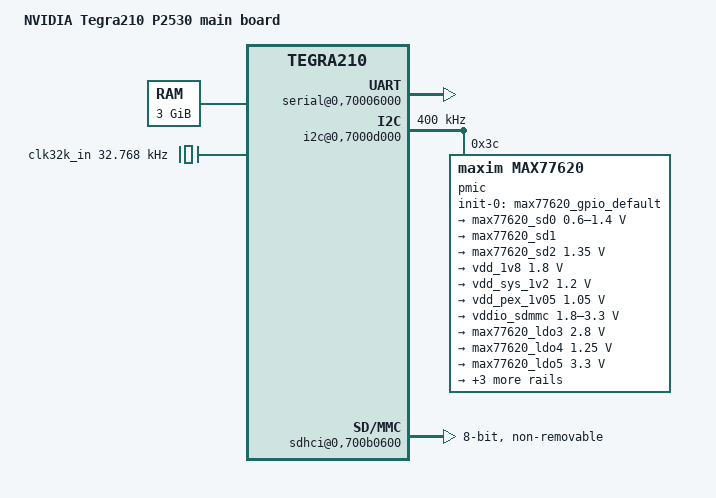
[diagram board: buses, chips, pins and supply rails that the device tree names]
#include "tegra210.dtsi"

/ {
	model = "NVIDIA Tegra210 P2530 main board";
	compatible = "nvidia,p2530", "nvidia,tegra210";

	aliases {
		rtc0 = "/i2c@0,7000d000/pmic@3c";
		rtc1 = "/rtc@0,7000e000";
		serial0 = &uarta;
	};

	memory {
		device_type = "memory";
		reg = <0x0 0x80000000 0x0 0xc0000000>;
	};

	/* debug port */
	serial@0,70006000 {
		status = "okay";
	};

	i2c@0,7000d000 {
		status = "okay";
		clock-frequency = <400000>;

		pmic: pmic@3c {
			compatible = "maxim,max77620";
			reg = <0x3c>;
			interrupts = <GIC_SPI 86 IRQ_TYPE_LEVEL_HIGH>;

			#interrupt-cells = <2>;
			interrupt-controller;

			#gpio-cells = <2>;
			gpio-controller;

			maxim,enable-clock32k-out;

			maxim,system-pmic-power-off;

			maxim,hot-die-threshold-temp = <110000>;
			#thermal-sensor-cells = <0>;

			pinctrl-names = "default";
			pinctrl-0 = <&max77620_default>;

			gpio-init-names = "default";
			gpio-init-0 = <&max77620_gpio_default>;

			max77620_default: pinmux@0 {
				pin_gpio0 {
					pins = "gpio0";
					function = "gpio";
				};

				pin_gpio1 {
					pins = "gpio1";
					function = "fps-out";
					drive-push-pull = <1>;
					maxim,fps-source = <0>;
					maxim,fps-power-up-period = <7>;
					maxim,fps-power-down-period = <0>;
				};

				pin_gpio2 {
					pins = "gpio2", "gpio3";
					function = "fps-out";
					drive-open-drain = <1>;
					maxim,fps-source = <0>;
				};

				pin_gpio4 {
					pins = "gpio4";
					function = "32k-out1";
				};

				pin_gpio5_6_7 {
					pins = "gpio5", "gpio6", "gpio7";
					function = "gpio";
					drive-push-pull = <1>;
				};
			};

			max77620_gpio_default: gpio_default {
				gpio-output-high = <2>;
			};

			watchdog {
				maxim,wdt-timeout = <16>;
				maxim,wdt-clear-time = <13>;
				status = "disabled";
				dt-override-status-odm-data = <0x00020000 0x00020000>;
			};

			fps {
				#address-cells = <1>;
				#size-cells = <0>;
				fps@0 {
					reg = <0>;
					maxim,fps-time-period = <2560>;
					maxim,fps-enable-input = <0>;
				};

				fps@1 {
					reg = <1>;
					maxim,fps-time-period = <2560>;
					maxim,fps-enable-input = <1>;
					maxim,enable-sleep;
				};

				fps@2 {
					reg = <2>;
					maxim,fps-enable-input = <0>;
				};
			};

			backup-battery {
				maxim,backup-battery-charging-current = <100>;
				maxim,backup-battery-charging-voltage = <3000000>;
				maxim,backup-battery-output-resister = <100>;
			};

			regulators {
				in-ldo0-1-supply = <&max77620_sd2>;
				in-ldo7-8-supply = <&max77620_sd2>;

				max77620_sd0: sd0 {
					regulator-name = "VDD_SOC";
					regulator-min-microvolt = <600000>;
					regulator-max-microvolt = <1400000>;
					regulator-always-on;
					regulator-boot-on;
					maxim,fps-source = <1>;
					regulator-init-mode = <2>;
				};

				max77620_sd1: sd1 {
					regulator-name = "VDD_DDR_1V1_PMIC";
					regulator-always-on;
					regulator-boot-on;
					regulator-init-mode = <2>;
					maxim,fps-source = <0>;
				};

				max77620_sd2: sd2 {
					regulator-name = "VDD_PRE_REG_1V35";
					regulator-min-microvolt = <1350000>;
					regulator-max-microvolt = <1350000>;
					maxim,fps-source = <1>;
				};

				vdd_1v8: sd3 {
					regulator-name = "VDD_1V8";
					regulator-min-microvolt = <1800000>;
					regulator-max-microvolt = <1800000>;
					regulator-always-on;
					regulator-boot-on;
					maxim,fps-source = <0>;
					regulator-init-mode = <2>;
				};

				vdd_sys_1v2: ldo0 {
					regulator-name = "AVDD_SYS_1V2";
					regulator-min-microvolt = <1200000>;
					regulator-max-microvolt = <1200000>;
					regulator-always-on;
					regulator-boot-on;
					maxim,fps-source = <3>;
				};

				vdd_pex_1v05: ldo1 {
					regulator-name = "VDD_PEX_1V05";
					regulator-min-microvolt = <1050000>;
					regulator-max-microvolt = <1050000>;
					maxim,fps-source = <3>;
				};

				vddio_sdmmc: ldo2 {
					regulator-name = "VDDIO_SDMMC";
					regulator-min-microvolt = <1800000>;
					regulator-max-microvolt = <3300000>;
					maxim,fps-source = <3>;
				};

				max77620_ldo3: ldo3 {
					regulator-name = "VDD_CAM_HV";
					regulator-min-microvolt = <2800000>;
					regulator-max-microvolt = <2800000>;
					maxim,fps-source = <3>;
				};

				max77620_ldo4: ldo4 {
					regulator-name = "VDD_RTC";
					regulator-min-microvolt = <1250000>;
					regulator-max-microvolt = <1250000>;
					regulator-always-on;
					regulator-boot-on;
					maxim,fps-source = <0>;
				};

				max77620_ldo5: ldo5 {
					regulator-name = "VDD_TS_HV";
					regulator-min-microvolt = <3300000>;
					regulator-max-microvolt = <3300000>;
					maxim,fps-source = <3>;
				};

				max77620_ldo6: ldo6 {
					regulator-name = "VDD_TS_1V8";
					regulator-min-microvolt = <1800000>;
					regulator-max-microvolt = <1800000>;
					regulator-always-on;
					regulator-boot-on;
					maxim,fps-source = <0>;
					maxim,fps-power-up-period = <7>;
					maxim,fps-power-down-period = <0>;
				};

				avdd_1v05_pll: ldo7 {
					regulator-name = "AVDD_1V05_PLL";
					regulator-min-microvolt = <1050000>;
					regulator-max-microvolt = <1050000>;
					regulator-always-on;
					regulator-boot-on;
					maxim,fps-source = <1>;
				};

				avdd_1v05: ldo8 {
					regulator-name = "AVDD_SATA_HDMI_DP_1V05";
					regulator-min-microvolt = <1050000>;
					regulator-max-microvolt = <1050000>;
					maxim,fps-source = <3>;
				};
			};
		};
	};

	pmc@0,7000e400 {
		nvidia,invert-interrupt;
	};

	/* eMMC */
	sdhci@0,700b0600 {
		status = "okay";
		bus-width = <8>;
		non-removable;
	};

	clocks {
		compatible = "simple-bus";
		#address-cells = <1>;
		#size-cells = <0>;

		clk32k_in: clock@0 {
			compatible = "fixed-clock";
			reg = <0>;
			#clock-cells = <0>;
			clock-frequency = <32768>;
		};
	};
};
